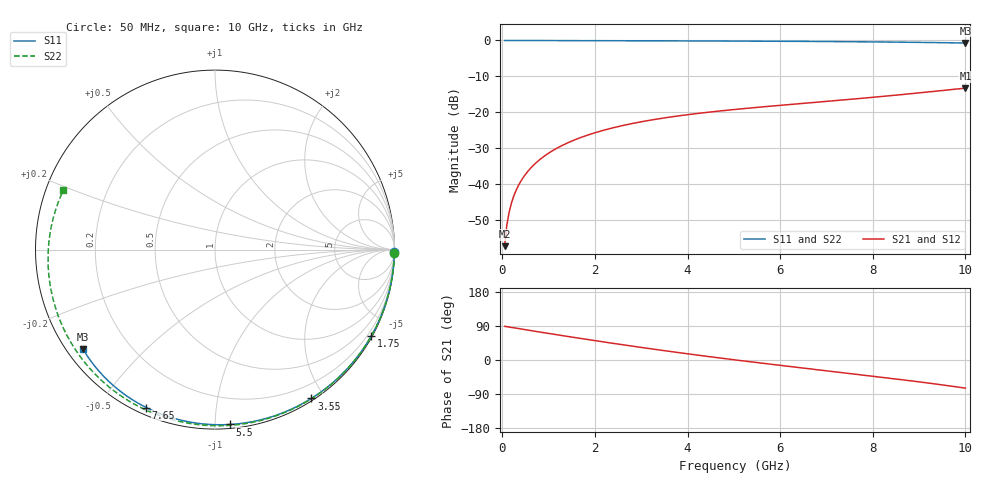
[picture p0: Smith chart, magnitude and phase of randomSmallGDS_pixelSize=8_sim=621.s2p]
! freq	dB(S11)	phase(S11)	dB(S12)	phase(S12)
!  dB(S21)	phase(S21)	dB(S22)	phase(S22)
!S-par simulation data
#  GHz  S  DB  R 50
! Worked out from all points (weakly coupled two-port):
!   200 points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, 50 MHz to 10 GHz, reference 50 ohm
!   highest |S21| = -13.25 dB at 10 GHz (marker M1); lowest = -57.2 dB at 50 MHz (marker M2)
!   lowest |S11| = -0.7 dB at 10 GHz (marker M3), VSWR 24.35, Z = 2.28 - j16.8 ohm
!   |S11| at or under -10 dB: nowhere
!   |S22| runs from -0.8 to 0.0 dB; largest |S21 - S12| = 0
!   S11 on the Smith chart (normalised r, x): 50 MHz: open; 1.75 GHz: 0.04, -3.88; 3.55 GHz: 0.03, -1.84; 5.5 GHz: 0.02, -1.09; 7.65 GHz: 0.03, -0.65; 10 GHz: 0.05, -0.34
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0.05  -0.00 -0.8  -57.17 88.9  -57.17 88.9  -0.00 -1.2
0.1  -0.00 -1.7  -51.14 87.8  -51.14 87.8  -0.00 -2.3
0.15  -0.00 -2.5  -47.60 86.7  -47.60 86.7  -0.00 -3.4
0.2  -0.00 -3.4  -45.08 85.9  -45.08 85.9  -0.01 -4.6
0.25  -0.01 -4.2  -43.16 85.1  -43.16 85.1  -0.01 -5.7
0.35  -0.01 -5.9  -40.28 83.0  -40.28 83.0  -0.01 -8.0
0.5  -0.01 -8.4  -37.22 80.0  -37.22 80.0  -0.02 -11.4
0.7  -0.02 -11.7  -34.34 75.9  -34.34 75.9  -0.02 -15.9
1  -0.02 -16.7  -31.32 70.1  -31.32 70.1  -0.03 -22.6
1.35  -0.03 -22.4  -28.83 63.3  -28.83 63.3  -0.04 -30.4
1.75  -0.05 -28.9  -26.71 55.8  -26.71 55.8  -0.06 -39.2
2.6  -0.07 -42.4  -23.64 40.2  -23.64 40.2  -0.09 -57.3
3.4  -0.10 -54.8  -21.72 26.3  -21.72 26.3  -0.12 -73.7
3.55  -0.11 -57.1  -21.43 23.8  -21.43 23.8  -0.13 -76.7
4.3  -0.14 -68.2  -20.16 11.5  -20.16 11.5  -0.17 -91.4
5.05  -0.17 -78.9  -19.14 -0.1  -19.14 -0.1  -0.21 -105.6
5.5  -0.19 -85.2  -18.60 -6.8  -18.60 -6.8  -0.24 -113.9
6.7  -0.27 -101.3  -17.26 -24.1  -17.26 -24.1  -0.34 -135.8
7.65  -0.36 -113.5  -16.21 -37.5  -16.21 -37.5  -0.44 -153.3
8.35  -0.44 -122.4  -15.38 -47.7  -15.38 -47.7  -0.53 -166.6
9.2  -0.56 -132.9  -14.31 -60.8  -14.31 -60.8  -0.67 176.3
10  -0.71 -142.9  -13.25 -74.2  -13.25 -74.2  -0.84 158.7
